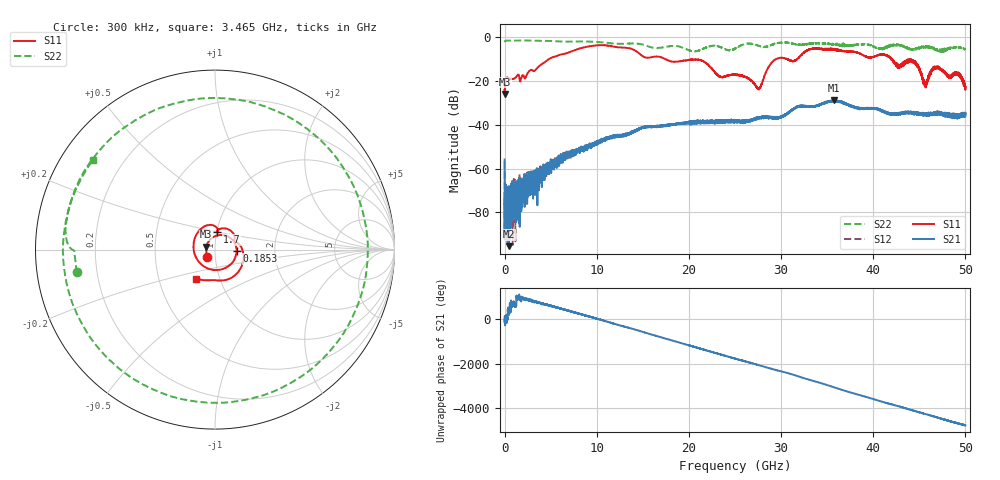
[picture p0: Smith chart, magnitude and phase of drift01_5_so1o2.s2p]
!Created with skrf (http://scikit-rf.org).
# Hz S RI R 50.0
!freq ReS11 ImS11 ReS21 ImS21 ReS12 ImS12 ReS22 ImS22
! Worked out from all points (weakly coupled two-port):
!   10001 points, 300 kHz to 50 GHz, reference 50 ohm
!   highest |S21| = -28.82 dB at 35.74 GHz (marker M1); lowest = -95.5 dB at 440.3 MHz (marker M2)
!   lowest |S11| = -25.8 dB at 5.3 MHz (marker M3), VSWR 1.11, Z = 45.3 + j1.42 ohm
!   |S11| at or under -10 dB: start of sweep to 4.761 GHz; 20.71 GHz to 29.41 GHz (8.7 GHz wide, 34.7 % of centre); 44.09 GHz to end of sweep (the widest 3 of 11)
!   |S22| runs from -6.7 to -1.4 dB; largest |S21 - S12| = 0.0036
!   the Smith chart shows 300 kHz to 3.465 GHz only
!   S11 on the Smith chart (normalised r, x): 300 kHz: 0.91, -0.08; 185.3 MHz: 1.27, -0.02; 1.7 GHz: 1.00, +0.20; 3.465 GHz: 0.77, -0.26
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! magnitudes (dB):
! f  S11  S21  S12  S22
! 300 kHz  -24.1  -55.9  -56.7  -2.1
! 5.3 MHz  -25.8  -84.5  -73.0  -2.1
! 185.3 MHz  -18.3  -71.1  -72.0  -1.4
! 440.3 MHz  -18.6  -95.5  -77.7  -1.4
! 1.7 GHz  -20.1  -69.8  -68.2  -1.4
! 3.465 GHz  -14.3  -61.2  -63.5  -1.5
! 8.335 GHz  -4.8  -51.2  -50.9  -1.8
! 16.67 GHz  -8.7  -40.7  -40.7  -4.8
! 21.15 GHz  -10.3  -38.6  -38.7  -5.9
! 25 GHz  -17.1  -38.3  -38.4  -5.1
! 27.58 GHz  -23.7  -36.9  -36.9  -3.9
! 29.28 GHz  -10.4  -36.8  -36.7  -2.8
! 31.45 GHz  -10.7  -32.3  -32.5  -3.0
! 33.34 GHz  -5.2  -31.6  -31.7  -2.6
! 35.74 GHz  -5.3  -28.8  -29.0  -2.8
! 41.67 GHz  -8.9  -34.4  -34.6  -4.5
! 42.74 GHz  -12.5  -34.9  -34.9  -3.2
! 44.42 GHz  -11.1  -34.8  -34.5  -5.2
! 45.63 GHz  -20.8  -35.3  -34.9  -4.2
! 46.89 GHz  -14.0  -34.6  -34.8  -5.4
! 49.24 GHz  -16.5  -35.7  -36.5  -4.6
! 50 GHz  -22.7  -34.5  -35.4  -5.4
